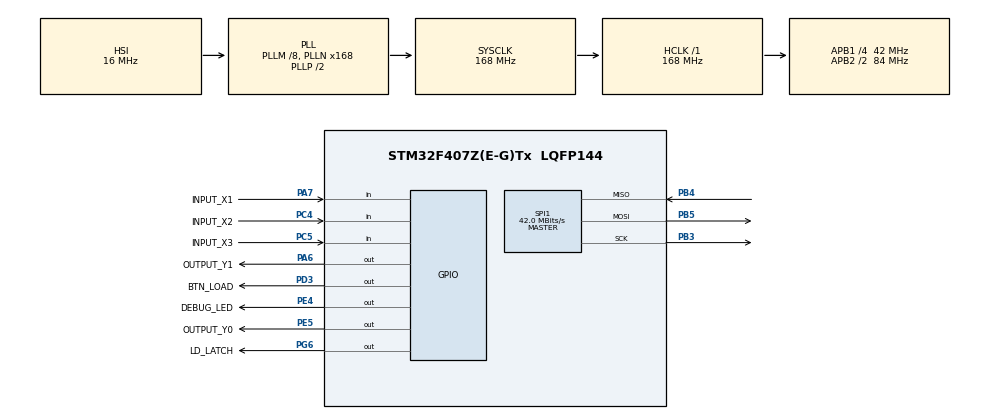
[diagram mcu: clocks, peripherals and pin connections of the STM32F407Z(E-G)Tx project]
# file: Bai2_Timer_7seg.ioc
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Mcu.Family=STM32F4
Mcu.Name=STM32F407Z(E-G)Tx
Mcu.Package=LQFP144
NVIC.PriorityGroup=NVIC_PRIORITYGROUP_4
NVIC.TIM2_IRQn=true\:0\:0\:false\:false\:true\:true\:true
PA13.Mode=Serial_Wire
PA13.Signal=SYS_JTMS-SWDIO
PA14.Mode=Serial_Wire
PA14.Signal=SYS_JTCK-SWCLK
PA6.GPIO_Label=OUTPUT_Y1
PA6.Signal=GPIO_Output
PA7.GPIO_Label=INPUT_X1
PA7.Signal=GPIO_Input
PB3.Mode=Full_Duplex_Master
PB3.Signal=SPI1_SCK
PB4.Mode=Full_Duplex_Master
PB4.Signal=SPI1_MISO
PB5.Mode=Full_Duplex_Master
PB5.Signal=SPI1_MOSI
PC4.GPIO_Label=INPUT_X2
PC4.Signal=GPIO_Input
PC5.GPIO_Label=INPUT_X3
PC5.Signal=GPIO_Input
PD3.GPIO_Label=BTN_LOAD
PD3.Signal=GPIO_Output
PE4.GPIO_Label=DEBUG_LED
PE4.Signal=GPIO_Output
PE5.GPIO_Label=OUTPUT_Y0
PE5.Signal=GPIO_Output
PG6.GPIO_Label=LD_LATCH
PG6.Signal=GPIO_Output
PH0-OSC_IN.Mode=HSE-External-Oscillator
PH0-OSC_IN.Signal=RCC_OSC_IN
PH1-OSC_OUT.Mode=HSE-External-Oscillator
PH1-OSC_OUT.Signal=RCC_OSC_OUT
ProjectManager.HeapSize=0x200
ProjectManager.StackSize=0x400
ProjectManager.TargetToolchain=STM32CubeIDE
RCC.48MHZClocksFreq_Value=84000000
RCC.AHBFreq_Value=168000000
RCC.APB1CLKDivider=RCC_HCLK_DIV4
RCC.APB1Freq_Value=42000000
RCC.APB1TimFreq_Value=84000000
RCC.APB2CLKDivider=RCC_HCLK_DIV2
RCC.APB2Freq_Value=84000000
RCC.APB2TimFreq_Value=168000000
RCC.CortexFreq_Value=168000000
RCC.HCLKFreq_Value=168000000
RCC.HSE_VALUE=8000000
RCC.HSI_VALUE=16000000
RCC.LSE_VALUE=32768
RCC.PLLM=8
RCC.PLLN=168
RCC.SYSCLKFreq_VALUE=168000000
RCC.SYSCLKSource=RCC_SYSCLKSOURCE_PLLCLK
RCC.VCOOutputFreq_Value=336000000
SPI1.CalculateBaudRate=42.0 MBits/s
SPI1.Direction=SPI_DIRECTION_2LINES
SPI1.Mode=SPI_MODE_MASTER
SPI1.VirtualType=VM_MASTER
TIM2.Period=100-1
TIM2.Prescaler=840-1
VP_TIM2_VS_ClockSourceINT.Mode=Internal
board=custom

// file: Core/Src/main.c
/* USER CODE BEGIN Header */
/**
  ******************************************************************************
  * @file           : main.c
  * @brief          : Main program body
  ******************************************************************************
  * @attention
  *
  * <h2><center>&copy; Copyright (c) 2023 STMicroelectronics.
  * All rights reserved.</center></h2>
  *
  * This software component is licensed by ST under BSD 3-Clause license,
  * the "License"; You may not use this file except in compliance with the
  * License. You may obtain a copy of the License at:
  *                        opensource.org/licenses/BSD-3-Clause
  *
  ******************************************************************************
  */
/* USER CODE END Header */
#include "main.h"
#include "spi.h"
#include "tim.h"
#include "gpio.h"

/* USER CODE BEGIN Includes */
#include "software_timer.h"
#include "led_7seg.h"
/* USER CODE END Includes */

void SystemClock_Config(void);
/* USER CODE BEGIN PFP */
void system_init();
void test_LedDebug();
void test_LedY0();
void test_LedY1();
void test_7seg();
/* USER CODE END PFP */

int main(void)
{

  /* MCU Configuration--------------------------------------------------------*/

  /* Reset of all peripherals, Initializes the Flash interface and the Systick. */
  HAL_Init();

  /* Configure the system clock */
  SystemClock_Config();

  /* Initialize all configured peripherals */
  MX_GPIO_Init();
  MX_TIM2_Init();
  MX_SPI1_Init();
  /* USER CODE BEGIN 2 */
  system_init();
  led7_SetColon(1);
  /* USER CODE END 2 */

  /* Infinite loop */
  /* USER CODE BEGIN WHILE */
  HAL_GPIO_WritePin(DEBUG_LED_GPIO_Port, DEBUG_LED_Pin, 1);
  HAL_GPIO_WritePin(OUTPUT_Y0_GPIO_Port, OUTPUT_Y0_Pin, 0);
  HAL_GPIO_WritePin(OUTPUT_Y1_GPIO_Port, OUTPUT_Y1_Pin, 1);
  while (1)
  {
	  if(ledFlag == 1){
		  ledFlag=0;
		  if(ledState == 1){
			  HAL_GPIO_WritePin(DEBUG_LED_GPIO_Port, DEBUG_LED_Pin, 1);
			  HAL_GPIO_WritePin(OUTPUT_Y0_GPIO_Port, OUTPUT_Y0_Pin, 0);
			  HAL_GPIO_WritePin(OUTPUT_Y1_GPIO_Port, OUTPUT_Y1_Pin, 1);
		  }else if (ledState == 2){
			  HAL_GPIO_WritePin(DEBUG_LED_GPIO_Port, DEBUG_LED_Pin, 0);
			  HAL_GPIO_WritePin(OUTPUT_Y0_GPIO_Port, OUTPUT_Y0_Pin, 1);
			  HAL_GPIO_WritePin(OUTPUT_Y1_GPIO_Port, OUTPUT_Y1_Pin, 1);
		  }else{
			  HAL_GPIO_WritePin(DEBUG_LED_GPIO_Port, DEBUG_LED_Pin, 0);
			  HAL_GPIO_WritePin(OUTPUT_Y0_GPIO_Port, OUTPUT_Y0_Pin, 0);
			  HAL_GPIO_WritePin(OUTPUT_Y1_GPIO_Port, OUTPUT_Y1_Pin, 0);
		  }
	  }
    /* USER CODE END WHILE */

  }
}

void SystemClock_Config(void)
{
  RCC_OscInitTypeDef RCC_OscInitStruct = {0};
  RCC_ClkInitTypeDef RCC_ClkInitStruct = {0};

  /** Configure the main internal regulator output voltage
  */
  __HAL_RCC_PWR_CLK_ENABLE();
  __HAL_PWR_VOLTAGESCALING_CONFIG(PWR_REGULATOR_VOLTAGE_SCALE1);
  /** Initializes the RCC Oscillators according to the specified parameters
  * in the RCC_OscInitTypeDef structure.
  */
  RCC_OscInitStruct.OscillatorType = RCC_OSCILLATORTYPE_HSI;
  RCC_OscInitStruct.HSIState = RCC_HSI_ON;
  RCC_OscInitStruct.HSICalibrationValue = RCC_HSICALIBRATION_DEFAULT;
  RCC_OscInitStruct.PLL.PLLState = RCC_PLL_ON;
  RCC_OscInitStruct.PLL.PLLSource = RCC_PLLSOURCE_HSI;
  RCC_OscInitStruct.PLL.PLLM = 8;
  RCC_OscInitStruct.PLL.PLLN = 168;
  RCC_OscInitStruct.PLL.PLLP = RCC_PLLP_DIV2;
  RCC_OscInitStruct.PLL.PLLQ = 4;
  if (HAL_RCC_OscConfig(&RCC_OscInitStruct) != HAL_OK)
  {
    Error_Handler();
  }
  /** Initializes the CPU, AHB and APB buses clocks
  */
  RCC_ClkInitStruct.ClockType = RCC_CLOCKTYPE_HCLK|RCC_CLOCKTYPE_SYSCLK
                              |RCC_CLOCKTYPE_PCLK1|RCC_CLOCKTYPE_PCLK2;
  RCC_ClkInitStruct.SYSCLKSource = RCC_SYSCLKSOURCE_PLLCLK;
  RCC_ClkInitStruct.AHBCLKDivider = RCC_SYSCLK_DIV1;
  RCC_ClkInitStruct.APB1CLKDivider = RCC_HCLK_DIV4;
  RCC_ClkInitStruct.APB2CLKDivider = RCC_HCLK_DIV2;

  if (HAL_RCC_ClockConfig(&RCC_ClkInitStruct, FLASH_LATENCY_5) != HAL_OK)
  {
    Error_Handler();
  }
}

/* USER CODE BEGIN 4 */
void system_init(){
	  HAL_GPIO_WritePin(OUTPUT_Y0_GPIO_Port, OUTPUT_Y0_Pin, 0);
	  HAL_GPIO_WritePin(OUTPUT_Y1_GPIO_Port, OUTPUT_Y1_Pin, 0);
	  HAL_GPIO_WritePin(DEBUG_LED_GPIO_Port, DEBUG_LED_Pin, 0);
	  timer_init();
	  led7_init();
	  setTimer2(50);
}

uint8_t count_led_debug = 0;
uint8_t count_led_Y0 = 0;
uint8_t count_led_Y1 = 0;

void test_LedDebug(){
	count_led_debug = (count_led_debug + 1)%20;
	if(count_led_debug == 0){
		HAL_GPIO_TogglePin(DEBUG_LED_GPIO_Port, DEBUG_LED_Pin);
	}
}

void test_LedY0(){
	count_led_Y0 = (count_led_Y0+ 1)%100;
	if(count_led_Y0 > 40){
		HAL_GPIO_WritePin(OUTPUT_Y0_GPIO_Port, OUTPUT_Y0_Pin, 1);
	} else {
		HAL_GPIO_WritePin(OUTPUT_Y0_GPIO_Port, OUTPUT_Y0_Pin, 0);
	}
}

void test_LedY1(){
	count_led_Y1 = (count_led_Y1+ 1)%40;
	if(count_led_Y1 > 10){
		HAL_GPIO_WritePin(OUTPUT_Y1_GPIO_Port, OUTPUT_Y1_Pin, 0);
	} else {
		HAL_GPIO_WritePin(OUTPUT_Y0_GPIO_Port, OUTPUT_Y1_Pin, 1);
	}
}

void test_7seg(){
	//write number1 at led index 0 (not show dot)
	led7_SetDigit(1, 0, 0);
	led7_SetDigit(5, 1, 0);
	led7_SetDigit(4, 2, 0);
	led7_SetDigit(7, 3, 0);
}
/* USER CODE END 4 */

void Error_Handler(void)
{
  __disable_irq();
  while (1)
  {
  }
}

/************************ (C) COPYRIGHT STMicroelectronics *****END OF FILE****/
